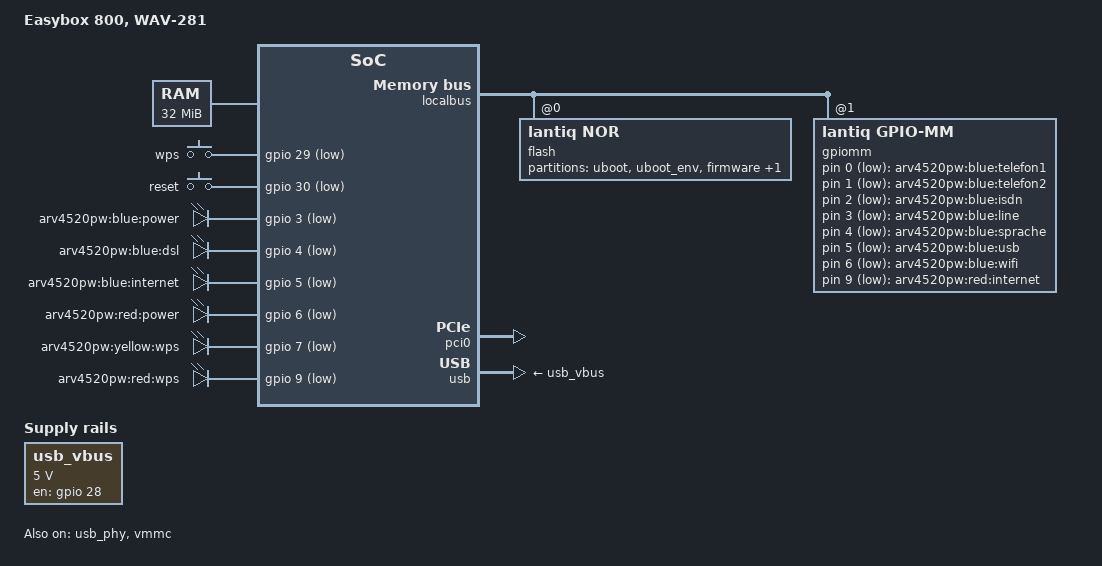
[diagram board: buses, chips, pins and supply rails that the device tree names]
/dts-v1/;

#include "danube.dtsi"

#include <dt-bindings/input/input.h>

/ {
	compatible = "arcadyan,arv4520pw", "lantiq,xway", "lantiq,danube";
	model = "Easybox 800, WAV-281";

	chosen {
		bootargs = "console=ttyLTQ0,115200";
	};

	aliases {
		led-boot = &power_blue;
		led-failsafe = &power_red;
		led-running = &power_blue;
		led-upgrade = &power_blue;

		led-dsl = &dsl;
		led-internet = &internet_blue;
		led-usb = &led_usb;
		led-wifi = &wifi;
	};

	memory@0 {
		device_type = "memory";
		reg = <0x0 0x2000000>;
	};

	keys {
		compatible = "gpio-keys-polled";
		poll-interval = <100>;

		rfkill {
			label = "wps";
			gpios = <&gpio 29 GPIO_ACTIVE_LOW>;
			linux,code = <KEY_WPS_BUTTON>;
		};
		reset {
			label = "reset";
			gpios = <&gpio 30 GPIO_ACTIVE_LOW>;
			linux,code = <KEY_RESTART>;
		};
	};

	leds {
		compatible = "gpio-leds";

		power_blue: power {
			label = "arv4520pw:blue:power";
			gpios = <&gpio 3 GPIO_ACTIVE_LOW>;
			default-state = "keep";
		};
		dsl: dsl {
			label = "arv4520pw:blue:dsl";
			gpios = <&gpio 4 GPIO_ACTIVE_LOW>;
		};
		internet_blue: internet {
			label = "arv4520pw:blue:internet";
			gpios = <&gpio 5 GPIO_ACTIVE_LOW>;
		};
		power_red: power2 {
			label = "arv4520pw:red:power";
			gpios = <&gpio 6 GPIO_ACTIVE_LOW>;
		};
		wps {
			label = "arv4520pw:yellow:wps";
			gpios = <&gpio 7 GPIO_ACTIVE_LOW>;
		};
		wps2 {
			label = "arv4520pw:red:wps";
			gpios = <&gpio 9 GPIO_ACTIVE_LOW>;
		};
		/*
			wps green is missing
		*/
		fxs1 {
			label = "arv4520pw:blue:telefon1";
			gpios = <&gpiomm 0 GPIO_ACTIVE_LOW>;
		};
		fxs2 {
			label = "arv4520pw:blue:telefon2";
			gpios = <&gpiomm 1 GPIO_ACTIVE_LOW>;
		};
		isdn {
			label = "arv4520pw:blue:isdn";
			gpios = <&gpiomm 2 GPIO_ACTIVE_LOW>;
		};
		fxo {
			label = "arv4520pw:blue:line";
			gpios = <&gpiomm 3 GPIO_ACTIVE_LOW>;
		};
		voice {
			label = "arv4520pw:blue:sprache";
			gpios = <&gpiomm 4 GPIO_ACTIVE_LOW>;
		};
		led_usb: usb {
			label = "arv4520pw:blue:usb";
			gpios = <&gpiomm 5 GPIO_ACTIVE_LOW>;
		};
		wifi: wifi {
			label = "arv4520pw:blue:wifi";
			gpios = <&gpiomm 6 GPIO_ACTIVE_LOW>;
		};
		internet2 {
			label = "arv4520pw:red:internet";
			gpios = <&gpiomm 9 GPIO_ACTIVE_LOW>;
		};
		/*
			info is missing
		*/
	};

	usb_vbus: regulator-usb-vbus {
		compatible = "regulator-fixed";

		regulator-name = "USB_VBUS";

		regulator-min-microvolt = <5000000>;
		regulator-max-microvolt = <5000000>;

		gpio = <&gpio 28 GPIO_ACTIVE_HIGH>;
		enable-active-high;
	};
};

&gpio {
	pinctrl-names = "default";
	pinctrl-0 = <&state_default>;

	state_default: pinmux {
		ebu {
			lantiq,groups = "ebu cs1";
			lantiq,function = "ebu";
		};
		pci_in {
			lantiq,groups = "req1";
			lantiq,function = "pci";
			lantiq,open-drain = <1>;
			lantiq,pull = <2>;
			lantiq,output = <0>;
		};
		pci_out {
			lantiq,groups = "gnt1";
			lantiq,function = "pci";
			lantiq,output = <1>;
		};
		pci_rst {
			lantiq,pins = "io21";
			lantiq,open-drain = <0>;
			lantiq,pull = <0>;
		};
	};
};

&gsw {
	/* gpiomm 10 - switch */
	phy-mode = "rmii";
	mtd-mac-address = <&boardconfig 0x16>;
};

&localbus {
	flash@0 {
		compatible = "lantiq,nor";
		bank-width = <2>;
		reg = <0 0x0 0x800000>;

		partitions {
			compatible = "fixed-partitions";
			#address-cells = <1>;
			#size-cells = <1>;

			partition@0 {
				label = "uboot";
				reg = <0x00000 0x20000>;
				read-only;
			};

			partition@20000 {
				label = "uboot_env";
				reg = <0x20000 0x10000>;
				read-only;
			};

			partition@30000 {
				label = "firmware";
				reg = <0x30000 0x3c0000>;
			};

			boardconfig: partition@7f0000 {
				label = "boardconfig";
				reg = <0x3f0000 0x10000>;
				read-only;
			};
		};
	};

	gpiomm: gpio@1 {
		compatible = "lantiq,gpio-mm";
		reg = <1 0x0 0x10 >;
		#address-cells = <1>;
		#size-cells = <1>;
		#gpio-cells = <2>;
		gpio-controller;
		lantiq,shadow = <0x400>;
	};
};

&pci0 {
	status = "okay";
	lantiq,external-clock;
	gpio-reset = <&gpio 21 GPIO_ACTIVE_HIGH>;
};

&usb_phy {
	status = "okay";
};

&usb {
	status = "okay";
	vbus-supply = <&usb_vbus>;
};

&vmmc {
	status = "okay";
	gpios = <&gpio 31 GPIO_ACTIVE_HIGH
		&gpiomm 7 GPIO_ACTIVE_HIGH>;
};
